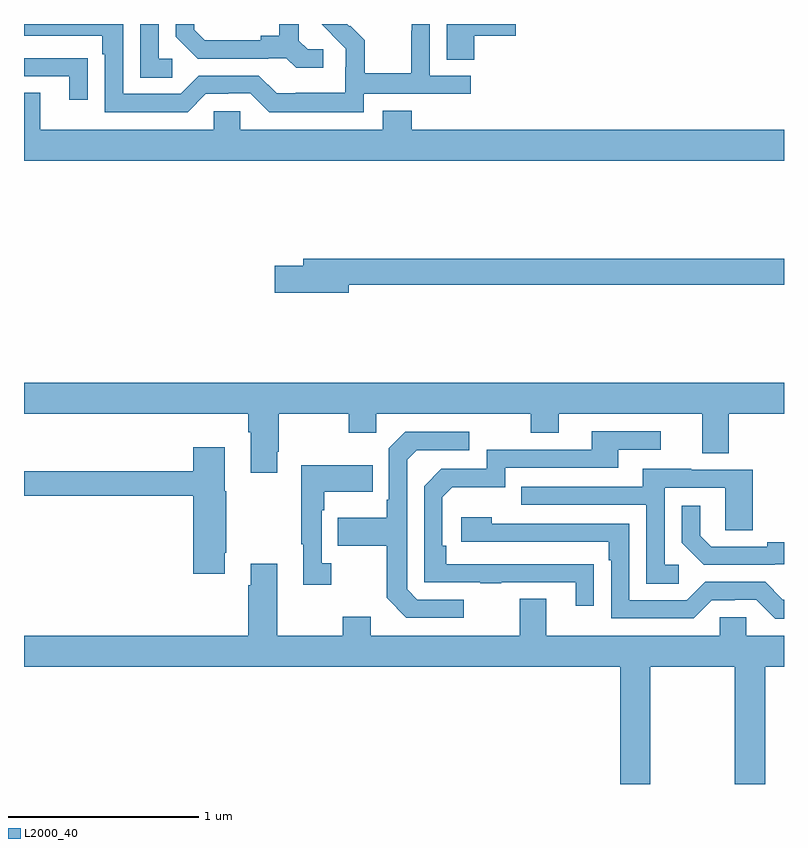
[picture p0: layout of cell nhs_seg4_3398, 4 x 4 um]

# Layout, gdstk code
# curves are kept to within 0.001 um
import gdstk
lib = gdstk.Library(unit=1e-6, precision=1e-09)
def R(c, l, rs):  # rectangles x0, y0, x1, y1
    for r in rs: c.add(gdstk.rectangle(r[:2], r[2:], *l))
def P(c, l, *ps):  # polygons
    for p in ps: c.add(gdstk.Polygon(p, *l))
L2000_40 = (2000, 40)

nhs_seg4_3398 = lib.new_cell('nhs_seg4_3398')
R(nhs_seg4_3398, L2000_40, [(292.026,770.899,292.171,770.9)])
P(nhs_seg4_3398, L2000_40, [(292.576,770.766),(292.494,770.766),(292.447,770.813),(292.447,770.9),(292.343,770.9),(292.343,770.837),(292.247,770.837),(292.247,770.814),(291.952,770.814),(291.895,770.871),(291.895,770.9),(291.798,770.9),(291.798,770.834),(291.914,770.718),(292.286,770.718),(292.286,770.721),(292.38,770.721),(292.432,770.669),(292.576,770.669)],
  [(292.788,770.532),(293.35,770.532),(293.35,770.628),(293.136,770.628),(293.136,770.9),(293.04,770.9),(293.04,770.864),(293.038,770.864),(293.038,770.641),(292.793,770.641),(292.793,770.815),(292.716,770.892),(292.713,770.889),(292.702,770.9),(292.566,770.9),(292.694,770.77),(292.694,770.673),(292.692,770.673),(292.692,770.539),(292.429,770.539),(292.429,770.535),(292.329,770.535),(292.236,770.628),(291.921,770.628),(291.825,770.532),(291.522,770.532),(291.522,770.9),(291,770.9),(291,770.838),(291.413,770.838),(291.413,770.741),(291.426,770.741),(291.426,770.436),(291.861,770.436),(291.957,770.532),(292.076,770.532),(292.076,770.535),(292.191,770.535),(292.291,770.435),(292.788,770.435)],
  [(293.369,770.837),(293.587,770.837),(293.587,770.9),(293.225,770.9),(293.225,770.713),(293.369,770.713)],
  [(291.781,770.718),(291.708,770.718),(291.708,770.9),(291.612,770.9),(291.612,770.617),(291.781,770.617)],
  [(291.335,770.72),(291.233,770.72),(291.233,770.721),(291,770.721),(291,770.625),(291.239,770.625),(291.239,770.502),(291.335,770.502)],
  [(295,770.344),(293.042,770.344),(293.042,770.443),(292.889,770.443),(292.889,770.344),(292.137,770.344),(292.137,770.442),(291.999,770.442),(291.999,770.344),(291.085,770.344),(291.085,770.539),(291,770.539),(291,770.18),(295,770.18)],
  [(292.708,769.528),(295,769.528),(295,769.664),(292.469,769.664),(292.469,769.628),(292.32,769.628),(292.32,769.486),(292.708,769.486)],
  [(291,768.848),(292.181,768.848),(292.181,768.752),(292.193,768.752),(292.193,768.537),(292.333,768.537),(292.333,768.649),(292.341,768.649),(292.341,768.848),(292.708,768.848),(292.708,768.749),(292.854,768.749),(292.854,768.848),(293.668,768.848),(293.668,768.749),(293.815,768.749),(293.815,768.848),(294.569,768.848),(294.569,768.64),(294.709,768.64),(294.709,768.848),(295,768.848),(295,769.012),(291,769.012)],
  [(293.999,768.056),(293.222,768.057),(293.222,768.154),(293.202,768.154),(293.202,768.408),(293.255,768.461),(293.532,768.461),(293.532,768.564),(294.127,768.564),(294.127,768.66),(294.352,768.66),(294.352,768.756),(293.987,768.756),(293.987,768.66),(293.436,768.66),(293.436,768.558),(293.196,768.558),(293.106,768.468),(293.106,767.961),(293.401,767.961),(293.401,767.956),(293.513,767.956),(293.513,767.961),(293.903,767.961),(293.903,767.838),(293.999,767.838)],
  [(293.314,767.871),(293.07,767.871),(293.016,767.925),(293.016,768.606),(293.067,768.657),(293.344,768.657),(293.344,768.753),(293.007,768.753),(292.92,768.666),(292.92,768.397),(292.908,768.397),(292.908,768.301),(292.651,768.301),(292.651,768.154),(292.908,768.154),(292.908,767.881),(293.013,767.775),(293.314,767.775)],
  [(292.057,768.118),(292.065,768.118),(292.065,768.441),(292.057,768.441),(292.057,768.673),(291.89,768.673),(291.89,768.547),(291,768.547),(291,768.418),(291.89,768.418),(291.89,768.006),(292.057,768.006)],
  [(292.618,768.062),(292.566,768.062),(292.566,768.341),(292.579,768.341),(292.579,768.437),(292.835,768.437),(292.835,768.577),(292.458,768.577),(292.458,768.161),(292.469,768.161),(292.469,767.949),(292.618,767.949)],
  [(294.445,768.054),(294.372,768.054),(294.372,768.459),(294.69,768.459),(294.69,768.235),(294.835,768.235),(294.835,768.555),(294.511,768.555),(294.511,768.559),(294.257,768.559),(294.257,768.465),(293.617,768.465),(293.617,768.369),(294.276,768.369),(294.276,767.953),(294.445,767.953)],
  [(294.95,768.057),(295,768.057),(295,768.173),(294.911,768.173),(294.911,768.15),(294.616,768.15),(294.559,768.207),(294.559,768.364),(294.462,768.364),(294.462,768.17),(294.578,768.054),(294.95,768.054)],
  [(295,767.871),(294.993,767.871),(294.9,767.964),(294.585,767.964),(294.489,767.868),(294.186,767.868),(294.186,768.27),(293.462,768.27),(293.462,768.304),(293.301,768.304),(293.301,768.174),(294.077,768.174),(294.077,768.077),(294.09,768.077),(294.09,767.772),(294.525,767.772),(294.621,767.868),(294.74,767.868),(294.74,767.871),(294.855,767.871),(294.955,767.771),(295,767.771)],
  [(294.742,766.9),(294.902,766.9),(294.902,767.516),(295,767.516),(295,767.68),(294.801,767.68),(294.801,767.778),(294.663,767.778),(294.663,767.68),(293.749,767.68),(293.749,767.875),(293.609,767.875),(293.609,767.68),(292.825,767.68),(292.825,767.779),(292.678,767.779),(292.678,767.68),(292.333,767.68),(292.333,768.058),(292.193,768.058),(292.193,767.945),(292.181,767.945),(292.181,767.68),(291,767.68),(291,767.516),(294.137,767.516),(294.137,766.9),(294.297,766.9),(294.297,767.516),(294.742,767.516)])

lib.write_gds('nhs_seg4_3398.gds')
